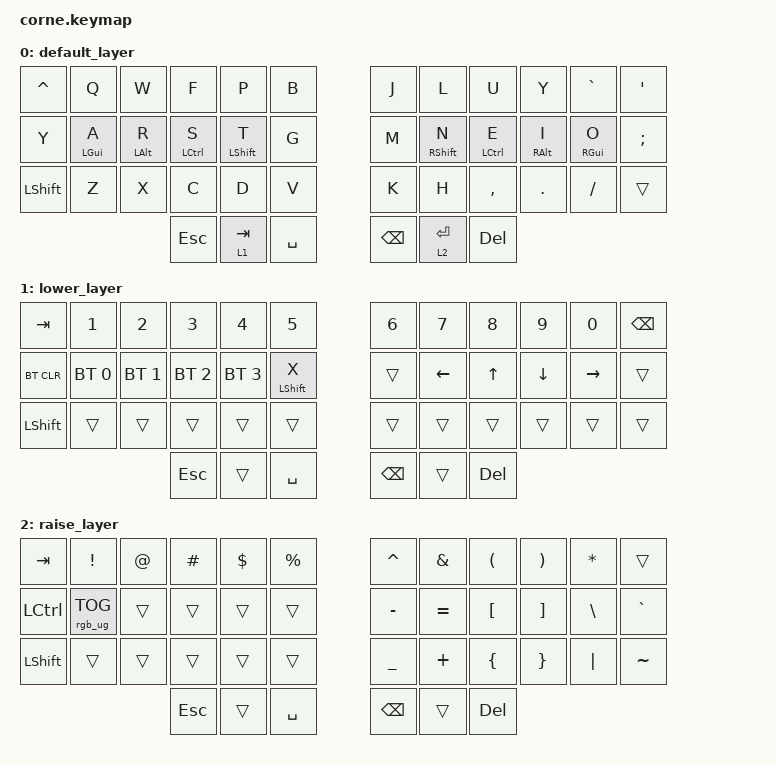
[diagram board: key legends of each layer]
/*
 * Copyright (c) 2020 The ZMK Contributors
 *
 * SPDX-License-Identifier: MIT
 */

#include <dt-bindings/zmk/keys.h>
#include <behaviors.dtsi>
#include <dt-bindings/zmk/bt.h>
#include <dt-bindings/zmk/rgb.h>


/ {
    behaviors {
        hm: homerow_mods {
            compatible = "zmk,behavior-hold-tap";
            #binding-cells = <2>;
            tapping-term-ms = <300>;
            quick-tap-ms = <0>;
            flavor = "tap-preferred";
            bindings = <&kp>, <&kp>;
        };
    };
    
        keymap {
                compatible = "zmk,keymap";

                default_layer {
// -----------------------------------------------------------------------------------------
// |  TAB |  Q  |  W  |  F  |  P  |  B  |   |  J  |  L   |  U  | Y/Z | ` | ' |
// | CTRL |  A  |  R  |  S  |  T  |  G  |   |  M  |  N   |  E  |  I  |  O  | ; | G A C S home row mods
// | SHFT | Z/Y |  X  |  C  |  D  |  V  |   |  K  |  H   |  ,  |  .  | /&- |     |
//                    | ESC | LWR and TAB | SPC |   | BSPC | RSE and RET  | DEL |
                        bindings = <
   &kp CARET   &kp Q &kp W &kp F &kp P &kp B   &kp J &kp L  &kp U     &kp Y   &kp GRAVE    &kp SQT
   &kp Y &hm LGUI A &hm LALT R &hm LCTRL S &hm LSHFT T &kp G   &kp M &hm RSHFT N  &hm LCTRL E     &hm RALT I   &hm RGUI O   &kp SEMI
   &kp LSHFT &kp Z &kp X &kp C &kp D &kp V   &kp K &kp H  &kp COMMA &kp DOT &kp FSLH    &trans
                  &kp ESC &lt 1 TAB &kp SPACE   &kp BSPC &lt 2 RET &kp DEL
                        >;
                };
                lower_layer {
// -----------------------------------------------------------------------------------------
// |  TAB |  1  |  2  |  3  |  4  |  5  |   |  6  |  7  |  8  |  9  |  0  | BKSP |
// | BTCLR| BT1 | BT2 | BT3 | X | BT5 |   |     | LFT | UP  | DWN | RGT |      | 
// | SHFT |     |     |     |     |     |   |     |     |     |     |     |      |
//                    | GUI |     | SPC |   | ENT |     | ALT |
                        bindings = <
   &kp TAB    &kp N1       &kp N2       &kp N3       &kp N4       &kp N5         &kp N6   &kp N7   &kp N8 &kp N9    &kp N0 &kp BSPC
   &bt BT_CLR &bt BT_SEL 0 &bt BT_SEL 1 &bt BT_SEL 2 &bt BT_SEL 3 &hm LSHFT X   &trans &kp LEFT &kp UP &kp DOWN &kp RIGHT &trans
   &kp LSHFT  &trans       &trans       &trans       &trans       &trans         &trans   &trans   &trans &trans    &trans &trans
                                    &kp ESC     &trans       &kp SPACE      &kp BSPC  &trans   &kp DEL
                        >;
                };

                raise_layer {
// -----------------------------------------------------------------------------------------
// |  TAB |  !  |  @  |  #  |  $  |  %  |   |  ^  |  &  |  (  |  )  |  *  | empt |
// | CTRL | RGB |     |     |     |     |   |  -  |  =  |  [  |  ]  |  \  |  `   |
// | SHFT |     |     |     |     |     |   |  _  |  +  |  {  |  }  | "|" |  ~   |
//                    | GUI |     | SPC |   | ENT |     | ALT |
                        bindings = <
   &kp  TAB  &kp EXCL &kp AT &kp HASH &kp DLLR &kp PRCNT   &kp CARET &kp AMPS  &kp LPAR &kp RPAR  &kp ASTRK &trans
   &kp LCTRL &rgb_ug RGB_TOG   &trans &trans   &trans   &trans      &kp MINUS &kp EQUAL &kp LBKT  &kp RBKT &kp BSLH &kp GRAVE
   &kp LSHFT &trans   &trans &trans   &trans   &trans      &kp UNDER &kp PLUS  &kp LBRC  &kp RBRC &kp PIPE &kp TILDE
                             &kp ESC &trans   &kp SPACE   &kp BSPC   &trans    &kp DEL
                        >;
                };
        };
};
